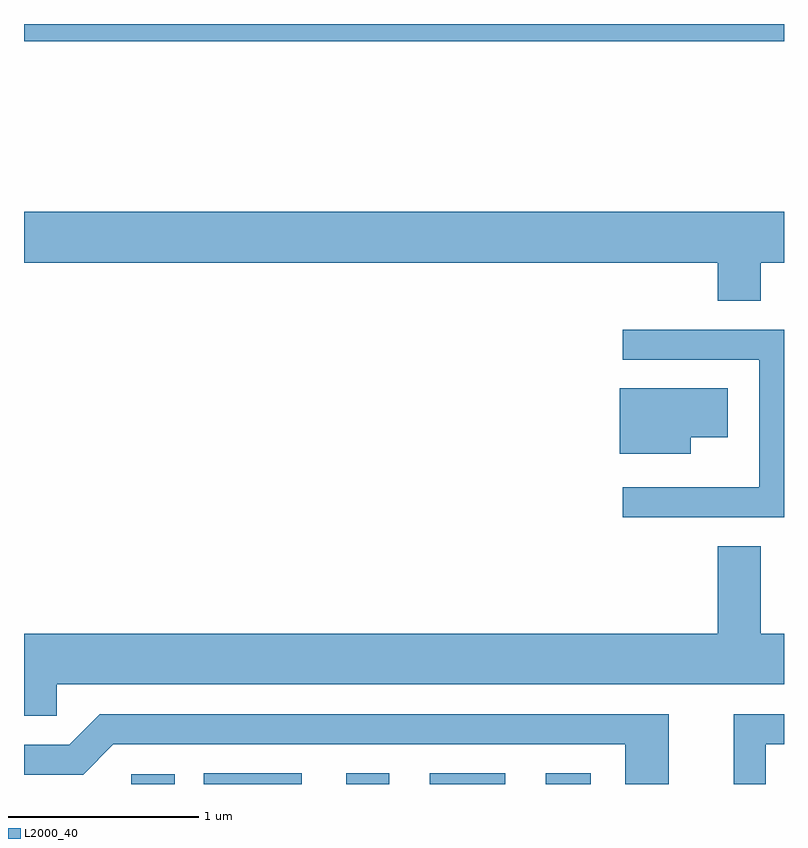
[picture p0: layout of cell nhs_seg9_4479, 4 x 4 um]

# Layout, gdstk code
import gdstk
lib = gdstk.Library(unit=1e-6, precision=1e-09)
def R(c, l, rs):  # rectangles x0, y0, x1, y1
    for r in rs: c.add(gdstk.rectangle(r[:2], r[2:], *l))
def P(c, l, *ps):  # polygons
    for p in ps: c.add(gdstk.Polygon(p, *l))
L2000_40 = (2000, 40)

nhs_seg9_4479 = lib.new_cell('nhs_seg9_4479')
R(nhs_seg9_4479, L2000_40, [(318.176,1962.432,318.404,1962.484), (318.556,1962.432,319.074,1962.489), (319.306,1962.432,319.534,1962.489), (319.746,1962.432,320.143,1962.489), (320.356,1962.432,320.593,1962.489), (317.611,1966.341,321.611,1966.432)])
P(nhs_seg9_4479, L2000_40, [(321.489,1965.176),(321.611,1965.176),(321.611,1965.444),(317.611,1965.444),(317.611,1965.176),(321.261,1965.176),(321.261,1964.976),(321.489,1964.976)],
  [(321.611,1964.824),(320.763,1964.824),(320.763,1964.666),(321.481,1964.666),(321.481,1963.994),(320.763,1963.994),(320.763,1963.836),(321.611,1963.836)],
  [(321.119,1964.256),(321.314,1964.256),(321.314,1964.514),(320.746,1964.514),(320.746,1964.171),(321.119,1964.171)],
  [(317.784,1962.956),(321.611,1962.956),(321.611,1963.224),(321.489,1963.224),(321.489,1963.684),(321.261,1963.684),(321.261,1963.224),(317.611,1963.224),(317.611,1962.791),(317.784,1962.791)],
  [(321.514,1962.641),(321.611,1962.641),(321.611,1962.799),(321.346,1962.799),(321.346,1962.432),(321.514,1962.432)],
  [(321.004,1962.799),(318.009,1962.799),(317.849,1962.639),(317.611,1962.639),(317.611,1962.481),(317.922,1962.481),(318.082,1962.641),(320.776,1962.641),(320.776,1962.432),(321.004,1962.432)])

lib.write_gds('nhs_seg9_4479.gds')
